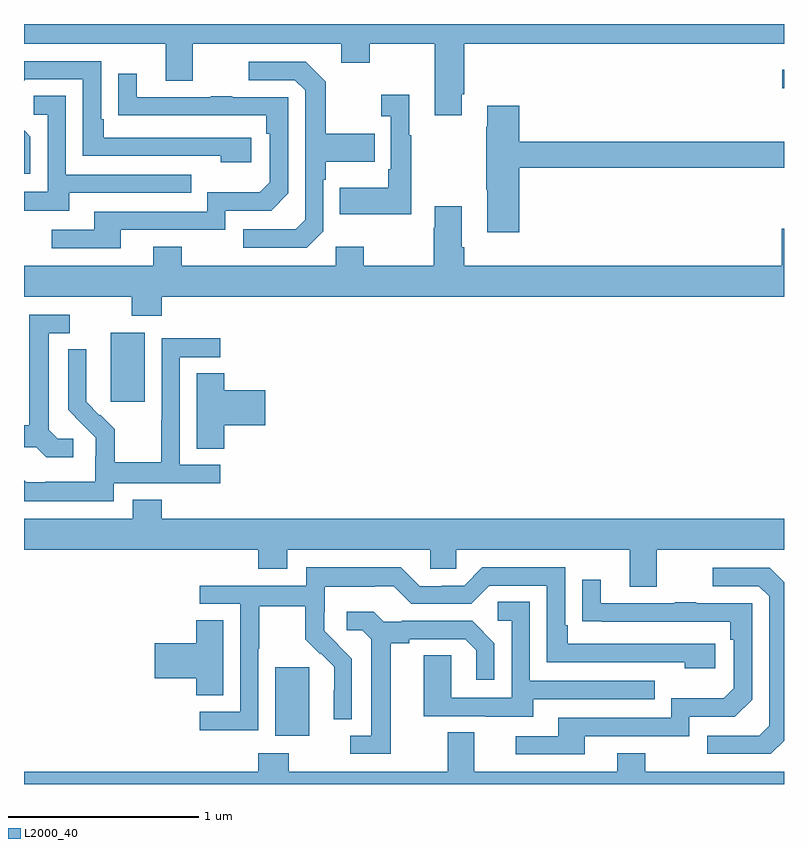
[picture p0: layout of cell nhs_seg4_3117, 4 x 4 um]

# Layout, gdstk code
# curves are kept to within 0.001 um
import gdstk
lib = gdstk.Library(unit=1e-6, precision=1e-09)
def R(c, l, rs):  # rectangles x0, y0, x1, y1
    for r in rs: c.add(gdstk.rectangle(r[:2], r[2:], *l))
def P(c, l, *ps):  # polygons
    for p in ps: c.add(gdstk.Polygon(p, *l))
L2000_40 = (2000, 40)

nhs_seg4_3117 = lib.new_cell('nhs_seg4_3117')
R(nhs_seg4_3117, L2000_40, [(276.323,817.154,276.502,817.515), (275.456,818.913,275.635,819.274), (278.991,820.563,279,820.66)])
P(nhs_seg4_3117, L2000_40, [(277.303,820.531),(277.316,820.531),(277.316,820.796),(279,820.796),(279,820.9),(275,820.9),(275,820.796),(275.747,820.796),(275.747,820.602),(275.887,820.602),(275.887,820.796),(276.671,820.796),(276.671,820.697),(276.819,820.697),(276.819,820.796),(277.163,820.796),(277.163,820.419),(277.303,820.419)],
  [(276.196,820.302),(275.419,820.302),(275.419,820.399),(275.406,820.399),(275.406,820.704),(275,820.704),(275,820.601),(275.007,820.608),(275.31,820.608),(275.31,820.206),(276.035,820.206),(276.035,820.172),(276.196,820.172)],
  [(276.576,819.81),(276.576,820.079),(276.589,820.079),(276.589,820.175),(276.845,820.175),(276.845,820.323),(276.589,820.323),(276.589,820.595),(276.483,820.701),(276.183,820.701),(276.183,820.605),(276.426,820.605),(276.48,820.551),(276.48,819.87),(276.429,819.819),(276.153,819.819),(276.153,819.723),(276.489,819.723)],
  [(275.509,819.816),(276.06,819.816),(276.06,819.918),(276.3,819.918),(276.39,820.008),(276.39,820.515),(276.095,820.515),(276.095,820.52),(275.983,820.52),(275.983,820.515),(275.593,820.515),(275.593,820.639),(275.497,820.639),(275.497,820.42),(276.274,820.419),(276.274,820.322),(276.294,820.322),(276.294,820.068),(276.241,820.015),(275.964,820.015),(275.964,819.912),(275.369,819.912),(275.369,819.816),(275.145,819.816),(275.145,819.72),(275.509,819.72)],
  [(277.039,820.315),(277.027,820.315),(277.027,820.528),(276.879,820.528),(276.879,820.415),(276.93,820.415),(276.93,820.135),(276.918,820.135),(276.918,820.039),(276.661,820.039),(276.661,819.899),(277.039,819.899)],
  [(275.239,820.011),(275.879,820.011),(275.879,820.107),(275.22,820.107),(275.22,820.523),(275.052,820.523),(275.052,820.422),(275.124,820.422),(275.124,820.017),(275,820.017),(275,819.917),(275.239,819.917)],
  [(277.607,820.144),(279,820.144),(279,820.28),(277.607,820.28),(277.607,820.471),(277.439,820.471),(277.439,820.358),(277.432,820.358),(277.432,820.027),(277.439,820.027),(277.439,819.804),(277.607,819.804)],
  [(275.034,820.306),(275,820.34),(275,820.113),(275.034,820.113)],
  [(275.726,819.464),(279,819.464),(279,819.823),(278.987,819.823),(278.987,819.628),(277.316,819.628),(277.316,819.724),(277.303,819.724),(277.303,819.94),(277.163,819.94),(277.163,819.827),(277.156,819.827),(277.156,819.628),(276.789,819.628),(276.789,819.727),(276.642,819.727),(276.642,819.628),(275.829,819.628),(275.829,819.727),(275.681,819.727),(275.681,819.628),(275,819.628),(275,819.464),(275.566,819.464),(275.566,819.365),(275.726,819.365)],
  [(275.26,818.718),(275.178,818.718),(275.131,818.765),(275.131,819.273),(275.242,819.273),(275.242,819.369),(275.027,819.369),(275.027,818.789),(275,818.789),(275,818.673),(275.064,818.673),(275.116,818.621),(275.26,818.621)],
  [(275.472,818.484),(276.034,818.484),(276.034,818.58),(275.82,818.58),(275.82,819.147),(276.034,819.147),(276.034,819.246),(275.724,819.246),(275.724,818.816),(275.722,818.816),(275.722,818.593),(275.477,818.593),(275.477,818.767),(275.4,818.844),(275.397,818.841),(275.327,818.912),(275.328,819.188),(275.232,819.188),(275.232,818.87),(275.378,818.722),(275.378,818.625),(275.376,818.625),(275.376,818.491),(275.113,818.491),(275.113,818.487),(275.013,818.487),(275,818.5),(275,818.387),(275.472,818.387)],
  [(276.053,818.789),(276.271,818.789),(276.271,818.972),(276.053,818.972),(276.053,819.062),(275.909,819.062),(275.909,818.665),(276.053,818.665)],
  [(278.329,818.132),(279,818.132),(279,818.296),(275.726,818.296),(275.726,818.395),(275.573,818.395),(275.573,818.296),(275,818.296),(275,818.132),(276.233,818.132),(276.233,818.033),(276.385,818.033),(276.385,818.132),(277.137,818.132),(277.137,818.034),(277.275,818.034),(277.275,818.132),(278.189,818.132),(278.189,817.938),(278.329,817.938)],
  [(276.234,817.612),(276.237,817.612),(276.237,817.836),(276.481,817.836),(276.481,817.661),(276.558,817.584),(276.561,817.587),(276.632,817.517),(276.632,817.394),(276.63,817.394),(276.63,817.24),(276.726,817.24),(276.726,817.558),(276.58,817.706),(276.58,817.803),(276.582,817.803),(276.582,817.937),(276.845,817.937),(276.845,817.941),(276.945,817.941),(277.038,817.848),(277.353,817.848),(277.449,817.944),(277.752,817.944),(277.752,817.542),(278.477,817.542),(278.477,817.508),(278.638,817.508),(278.638,817.638),(277.861,817.638),(277.861,817.735),(277.848,817.735),(277.848,818.04),(277.413,818.04),(277.317,817.944),(277.199,817.944),(277.199,817.941),(277.083,817.941),(276.983,818.041),(276.486,818.041),(276.486,817.944),(275.925,817.944),(275.925,817.848),(276.138,817.848),(276.138,817.281),(275.925,817.281),(275.925,817.183),(276.234,817.183)],
  [(279,817.128),(279,817.962),(278.925,818.037),(278.625,818.037),(278.625,817.941),(278.868,817.941),(278.922,817.887),(278.922,817.206),(278.871,817.155),(278.595,817.155),(278.595,817.059),(278.931,817.059)],
  [(277.951,817.152),(278.502,817.152),(278.502,817.254),(278.742,817.254),(278.832,817.344),(278.832,817.851),(278.537,817.851),(278.537,817.856),(278.425,817.856),(278.425,817.851),(278.035,817.851),(278.035,817.975),(277.939,817.975),(277.939,817.756),(278.716,817.755),(278.716,817.658),(278.736,817.658),(278.736,817.404),(278.683,817.351),(278.406,817.351),(278.406,817.248),(277.811,817.248),(277.811,817.152),(277.587,817.152),(277.587,817.056),(277.951,817.056)],
  [(277.681,817.347),(278.321,817.347),(278.321,817.443),(277.662,817.443),(277.662,817.859),(277.494,817.859),(277.494,817.758),(277.566,817.758),(277.566,817.353),(277.248,817.353),(277.248,817.577),(277.103,817.577),(277.103,817.257),(277.427,817.257),(277.427,817.253),(277.681,817.253)],
  [(276.931,817.64),(277.027,817.64),(277.027,817.662),(277.322,817.662),(277.379,817.605),(277.379,817.449),(277.476,817.449),(277.476,817.642),(277.36,817.758),(276.988,817.758),(276.988,817.755),(276.894,817.755),(276.842,817.807),(276.699,817.807),(276.699,817.71),(276.78,817.71),(276.827,817.663),(276.827,817.155),(276.717,817.155),(276.717,817.059),(276.931,817.059)],
  [(276.049,817.763),(275.906,817.763),(275.906,817.64),(275.688,817.64),(275.688,817.457),(275.906,817.457),(275.906,817.366),(276.049,817.366)],
  [(279,816.964),(278.271,816.964),(278.271,817.063),(278.123,817.063),(278.123,816.964),(277.369,816.964),(277.369,817.172),(277.229,817.172),(277.229,816.964),(276.393,816.964),(276.393,817.063),(276.233,817.063),(276.233,816.964),(275,816.964),(275,816.9),(279,816.9)])

lib.write_gds('nhs_seg4_3117.gds')
